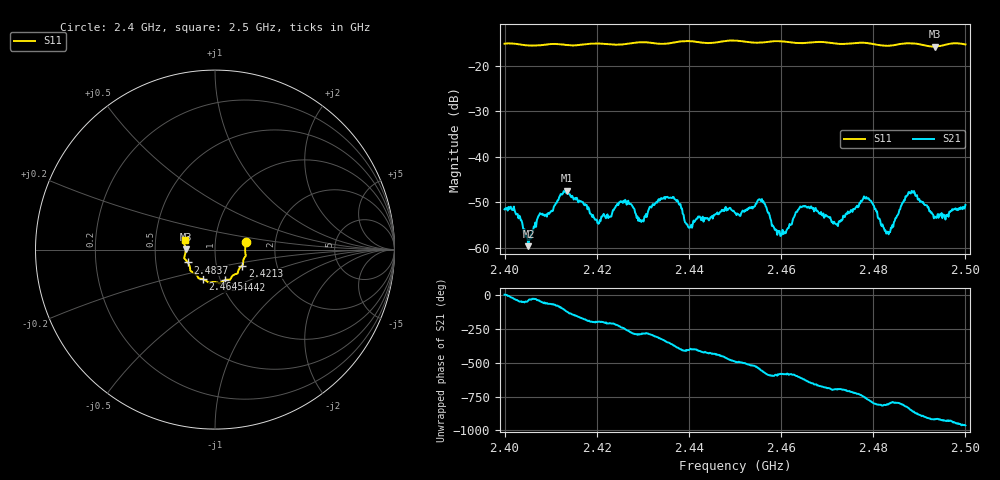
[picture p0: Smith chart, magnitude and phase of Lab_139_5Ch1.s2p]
# Hz S RI R 50
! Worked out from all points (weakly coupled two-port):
!   601 points, 2.4 GHz to 2.5 GHz, reference 50 ohm
!   highest |S21| = -47.46 dB at 2.4135 GHz (marker M1); lowest = -59.7 dB at 2.4052 GHz (marker M2)
!   lowest |S11| = -15.7 dB at 2.4933 GHz (marker M3), VSWR 1.39, Z = 35.9 + j0.098 ohm
!   |S11| at or under -10 dB: start of sweep to end of sweep
!   S12 and S22 are empty: the file has one direction only
!   S11 on the Smith chart (normalised r, x): 2.4 GHz: 1.41, +0.12; 2.4213 GHz: 1.33, -0.25; 2.4442 GHz: 1.05, -0.37; 2.4645 GHz: 0.83, -0.29; 2.4837 GHz: 0.73, -0.11; 2.5 GHz: 0.71, +0.07
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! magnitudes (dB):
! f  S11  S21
! 2.4 GHz  -15.1  -51.6
! 2.4052 GHz  -15.5  -59.7
! 2.4135 GHz  -15.4  -47.5
! 2.4167 GHz  -15.3  -49.9
! 2.4213 GHz  -15.1  -52.9
! 2.4263 GHz  -15.2  -49.9
! 2.4298 GHz  -14.8  -54.0
! 2.4333 GHz  -15.1  -49.5
! 2.4402 GHz  -14.5  -55.6
! 2.4442 GHz  -15.0  -53.7
! 2.45 GHz  -14.4  -52.4
! 2.4557 GHz  -14.8  -49.8
! 2.4603 GHz  -14.6  -56.1
! 2.4645 GHz  -15.0  -51.1
! 2.4667 GHz  -14.8  -51.2
! 2.4718 GHz  -15.1  -54.8
! 2.4785 GHz  -14.9  -48.9
! 2.4833 GHz  -15.6  -57.1
! 2.4837 GHz  -15.5  -56.6
! 2.4882 GHz  -15.0  -48.1
! 2.4933 GHz  -15.7  -53.2
! 2.5 GHz  -15.3  -50.6
